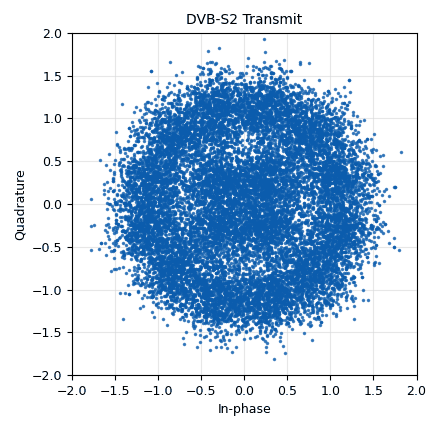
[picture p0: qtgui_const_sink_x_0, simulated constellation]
options:
  parameters:
    category: Custom
    generate_options: qt_gui
    id: dvbs2_ccm_tx
    output_language: python
    run_options: run
    title: DVB-S2 CCM Transmitter
  states: {}

blocks:
- name: Es
  id: variable
  parameters:
    value: '1'
  states: {}
- name: EsN0
  id: variable
  parameters:
    value: 10 ** (esn0_db / 10)
  states: {}
- name: N0
  id: variable
  parameters:
    value: Es / EsN0
  states: {}
- name: esn0_db
  id: variable_qtgui_range
  parameters:
    label: Es/N0 (dB)
    start: '0'
    step: '0.1'
    stop: '20'
    value: '10'
  states: {}
- name: analog_fastnoise_source_x_0
  id: analog_fastnoise_source_x
  parameters:
    amp: sqrt(N0)
    noise_type: analog.GR_GAUSSIAN
    samples: '8192'
    seed: '0'
    type: complex
  states: {}
- name: analog_random_uniform_source_x_0
  id: analog_random_uniform_source_x
  parameters:
    maximum: '256'
    minimum: '0'
    seed: '0'
    type: byte
  states: {}
- name: bitrate
  id: parameter
  parameters:
    label: bit rate in bps
    short_id: b
    type: intx
    value: '10000000'
  states: {}
- name: blocks_add_xx_0
  id: blocks_add_xx
  parameters:
    type: complex
  states: {}
- name: blocks_throttle_0
  id: blocks_throttle
  parameters:
    samples_per_second: bitrate
    type: byte
  states: {}
- name: blocks_unpack_k_bits_bb_0
  id: blocks_unpack_k_bits_bb
  parameters:
    k: '8'
  states: {}
- name: dtv_dvb_bch_bb_0
  id: dtv_dvb_bch_bb
  parameters:
    framesize2: FECFRAME_NORMAL
    rate3: C3_4
    standard: STANDARD_DVBS2
  states: {}
- name: dtv_dvb_ldpc_bb_0
  id: dtv_dvb_ldpc_bb
  parameters:
    constellation: MOD_OTHER
    framesize2: FECFRAME_NORMAL
    rate3: C3_4
    standard: STANDARD_DVBS2
  states: {}
- name: dtv_dvbs2_interleaver_bb_0
  id: dtv_dvbs2_interleaver_bb
  parameters:
    constellation: MOD_16APSK
    framesize: FECFRAME_NORMAL
    rate1: C3_4
  states: {}
- name: dtv_dvbs2_modulator_bc_0
  id: dtv_dvbs2_modulator_bc
  parameters:
    constellation: MOD_16APSK
    framesize: FECFRAME_NORMAL
    interpolation: INTERPOLATION_OFF
    rate1: C3_4
  states: {}
- name: import_0
  id: import
  parameters:
    imports: from math import pi, sqrt
  states: {}
- name: qtgui_const_sink_x_0
  id: qtgui_const_sink_x
  parameters:
    name: '"DVB-S2 Transmit"'
    size: '16200'
    type: complex
  states: {}

connections:
- [analog_fastnoise_source_x_0, '0', blocks_add_xx_0, '1']
- [analog_random_uniform_source_x_0, '0', blocks_unpack_k_bits_bb_0, '0']
- [blocks_add_xx_0, '0', qtgui_const_sink_x_0, '0']
- [blocks_throttle_0, '0', dtv_dvb_bch_bb_0, '0']
- [blocks_unpack_k_bits_bb_0, '0', blocks_throttle_0, '0']
- [dtv_dvb_bch_bb_0, '0', dtv_dvb_ldpc_bb_0, '0']
- [dtv_dvb_ldpc_bb_0, '0', dtv_dvbs2_interleaver_bb_0, '0']
- [dtv_dvbs2_interleaver_bb_0, '0', dtv_dvbs2_modulator_bc_0, '0']
- [dtv_dvbs2_modulator_bc_0, '0', blocks_add_xx_0, '0']

metadata:
  file_format: 1
